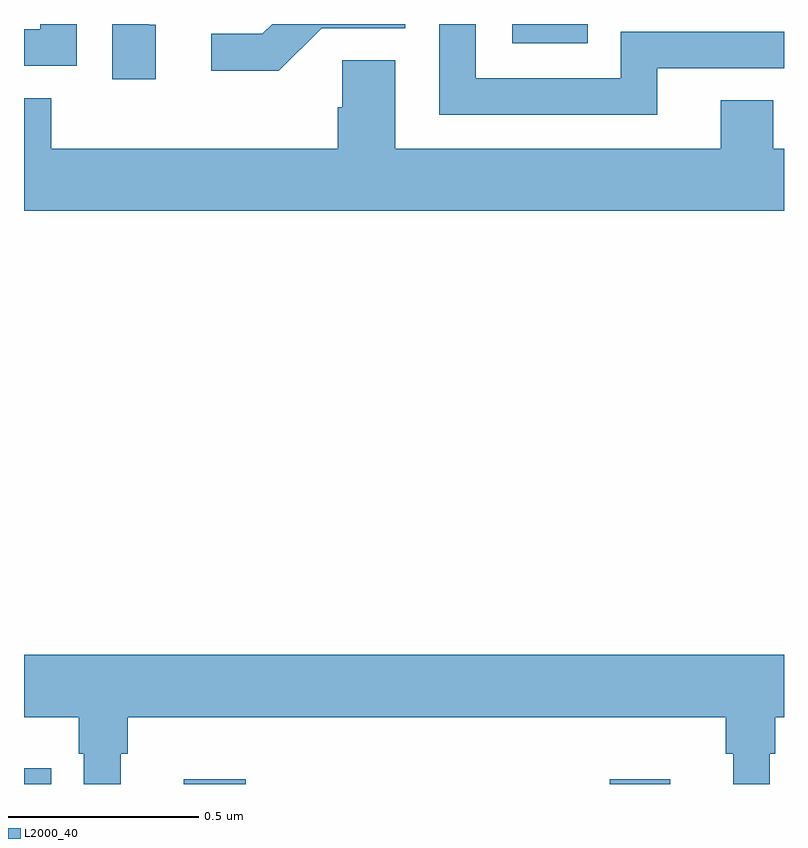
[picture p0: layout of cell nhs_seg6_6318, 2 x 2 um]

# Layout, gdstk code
import gdstk
lib = gdstk.Library(unit=1e-6, precision=1e-09)
def R(c, l, rs):  # rectangles x0, y0, x1, y1
    for r in rs: c.add(gdstk.rectangle(r[:2], r[2:], *l))
def P(c, l, *ps):  # polygons
    for p in ps: c.add(gdstk.Polygon(p, *l))
L2000_40 = (2000, 40)

nhs_seg6_6318 = lib.new_cell('nhs_seg6_6318')
R(nhs_seg6_6318, L2000_40, [(194,940.5,194.072,940.542), (194.42,940.5,194.584,940.513), (195.542,940.5,195.7,940.513), (195.285,942.449,195.483,942.5)])
P(nhs_seg6_6318, L2000_40, [(194.139,942.5),(194.043,942.5),(194.043,942.486),(194,942.486),(194,942.39),(194.139,942.39)],
  [(194.347,942.498),(194.328,942.498),(194.328,942.5),(194.232,942.5),(194.232,942.354),(194.347,942.354)],
  [(195.667,942.384),(196,942.384),(196,942.48),(195.57,942.48),(195.57,942.357),(195.189,942.357),(195.189,942.5),(195.093,942.5),(195.093,942.261),(195.667,942.261)],
  [(194.784,942.489),(195.003,942.489),(195.003,942.5),(194.653,942.5),(194.627,942.474),(194.493,942.474),(194.493,942.377),(194.671,942.377)],
  [(196,942.172),(195.972,942.172),(195.972,942.299),(195.833,942.299),(195.833,942.172),(194.977,942.172),(194.977,942.404),(194.838,942.404),(194.838,942.281),(194.825,942.281),(194.825,942.172),(194.072,942.172),(194.072,942.305),(194,942.305),(194,942.008),(196,942.008)],
  [(194.254,940.58),(194.273,940.58),(194.273,940.676),(195.847,940.676),(195.847,940.58),(195.866,940.58),(195.866,940.5),(195.963,940.5),(195.963,940.58),(195.977,940.58),(195.977,940.676),(196,940.676),(196,940.84),(194,940.84),(194,940.676),(194.144,940.676),(194.144,940.58),(194.157,940.58),(194.157,940.5),(194.254,940.5)])

lib.write_gds('nhs_seg6_6318.gds')
